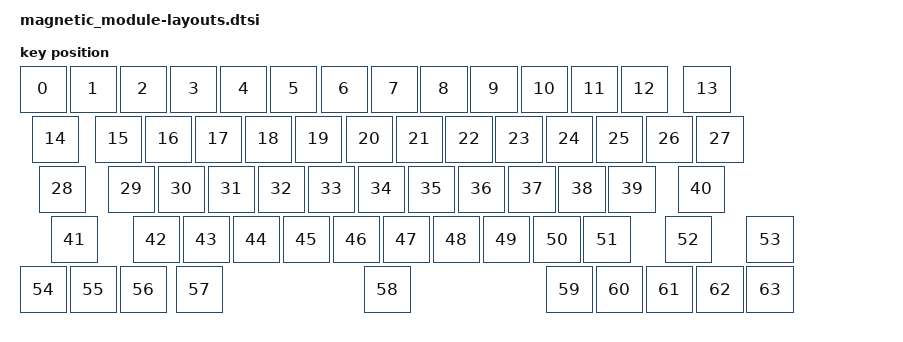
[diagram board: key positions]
#include <physical_layouts.dtsi>

/ {
    default_layout: default_layout {
        compatible = "zmk,physical-layout";
        display-name = "Default";

        keys  //                     w   h    x    y     rot    rx    ry
            = <&key_physical_attrs 100 100    0    0       0     0     0>
            , <&key_physical_attrs 100 100  100    0       0     0     0>
            , <&key_physical_attrs 100 100  200    0       0     0     0>
            , <&key_physical_attrs 100 100  301    0       0     0     0>
            , <&key_physical_attrs 100 100  401    0       0     0     0>
            , <&key_physical_attrs 100 100  501    0       0     0     0>
            , <&key_physical_attrs 100 100  602    0       0     0     0>
            , <&key_physical_attrs 100 100  702    0       0     0     0>
            , <&key_physical_attrs 100 100  802    0       0     0     0>
            , <&key_physical_attrs 100 100  902    0       0     0     0>
            , <&key_physical_attrs 100 100 1003    0       0     0     0>
            , <&key_physical_attrs 100 100 1103    0       0     0     0>
            , <&key_physical_attrs 100 100 1203    0       0     0     0>
            , <&key_physical_attrs 100 100 1328    0       0     0     0>
            , <&key_physical_attrs 100 100   25  100       0     0     0>
            , <&key_physical_attrs 100 100  150  100       0     0     0>
            , <&key_physical_attrs 100 100  251  100       0     0     0>
            , <&key_physical_attrs 100 100  351  100       0     0     0>
            , <&key_physical_attrs 100 100  451  100       0     0     0>
            , <&key_physical_attrs 100 100  551  100       0     0     0>
            , <&key_physical_attrs 100 100  652  100       0     0     0>
            , <&key_physical_attrs 100 100  752  100       0     0     0>
            , <&key_physical_attrs 100 100  852  100       0     0     0>
            , <&key_physical_attrs 100 100  952  100       0     0     0>
            , <&key_physical_attrs 100 100 1053  100       0     0     0>
            , <&key_physical_attrs 100 100 1153  100       0     0     0>
            , <&key_physical_attrs 100 100 1253  100       0     0     0>
            , <&key_physical_attrs 100 100 1354  100       0     0     0>
            , <&key_physical_attrs 100 100   38  200       0     0     0>
            , <&key_physical_attrs 100 100  176  200       0     0     0>
            , <&key_physical_attrs 100 100  276  200       0     0     0>
            , <&key_physical_attrs 100 100  376  200       0     0     0>
            , <&key_physical_attrs 100 100  476  200       0     0     0>
            , <&key_physical_attrs 100 100  576  200       0     0     0>
            , <&key_physical_attrs 100 100  677  200       0     0     0>
            , <&key_physical_attrs 100 100  777  200       0     0     0>
            , <&key_physical_attrs 100 100  877  200       0     0     0>
            , <&key_physical_attrs 100 100  978  200       0     0     0>
            , <&key_physical_attrs 100 100 1078  200       0     0     0>
            , <&key_physical_attrs 100 100 1178  200       0     0     0>
            , <&key_physical_attrs 100 100 1316  200       0     0     0>
            , <&key_physical_attrs 100 100   63  301       0     0     0>
            , <&key_physical_attrs 100 100  226  301       0     0     0>
            , <&key_physical_attrs 100 100  326  301       0     0     0>
            , <&key_physical_attrs 100 100  426  301       0     0     0>
            , <&key_physical_attrs 100 100  526  301       0     0     0>
            , <&key_physical_attrs 100 100  627  301       0     0     0>
            , <&key_physical_attrs 100 100  727  301       0     0     0>
            , <&key_physical_attrs 100 100  827  301       0     0     0>
            , <&key_physical_attrs 100 100  927  301       0     0     0>
            , <&key_physical_attrs 100 100 1028  301       0     0     0>
            , <&key_physical_attrs 100 100 1128  301       0     0     0>
            , <&key_physical_attrs 100 100 1291  301       0     0     0>
            , <&key_physical_attrs 100 100 1454  301       0     0     0>
            , <&key_physical_attrs 100 100    0  401       0     0     0>
            , <&key_physical_attrs 100 100  100  401       0     0     0>
            , <&key_physical_attrs 100 100  200  401       0     0     0>
            , <&key_physical_attrs 100 100  313  401       0     0     0>
            , <&key_physical_attrs 100 100  689  401       0     0     0>
            , <&key_physical_attrs 100 100 1053  401       0     0     0>
            , <&key_physical_attrs 100 100 1153  401       0     0     0>
            , <&key_physical_attrs 100 100 1253  401       0     0     0>
            , <&key_physical_attrs 100 100 1354  401       0     0     0>
            , <&key_physical_attrs 100 100 1454  401       0     0     0>
            ;
    };
};
